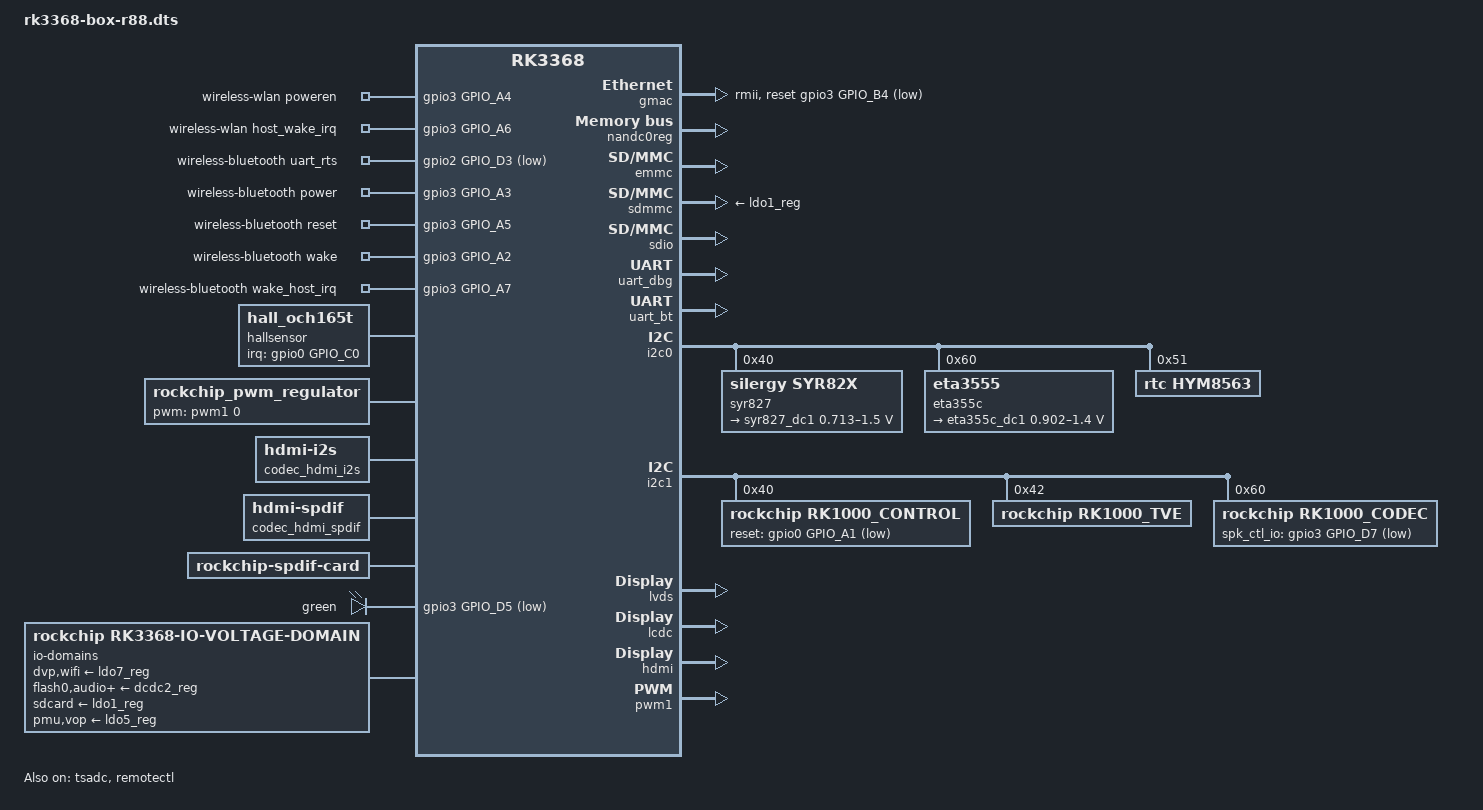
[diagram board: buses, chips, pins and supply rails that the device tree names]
/dts-v1/;

#include <dt-bindings/interrupt-controller/arm-gic.h>
#include <dt-bindings/rkfb/rk_fb.h>
#include <dt-bindings/input/input.h>
#include "rk3368.dtsi"
#include "../../../arm/boot/dts/vtl_ts_sdk8846.dtsi"
//#include "../../../arm/boot/dts/lcd-b101ew05.dtsi"
#include "../../../arm/boot/dts/lcd-box.dtsi"


/ {
	chosen {
		bootargs = "earlyprintk=uart8250-32bit,0xff690000";
	};

	wireless-wlan {
		compatible = "wlan-platdata";
                rockchip,grf = <&grf>;

                /* wifi_chip_type - wifi chip define
                 * ap6210, ap6330, ap6335
                 * rtl8188eu, rtl8723bs, rtl8723bu
                 * esp8089
                */
                wifi_chip_type = "ap6335";

		sdio_vref = <1800>; //1800mv or 3300mv

		//keep_wifi_power_on;

		//power_ctrl_by_pmu;
		power_pmu_regulator = "act_ldo3";
		power_pmu_enable_level = <1>; //1->HIGH, 0->LOW

		//vref_ctrl_enable;
		//vref_ctrl_gpio = <&gpio0 GPIO_A2 GPIO_ACTIVE_HIGH>;
		vref_pmu_regulator = "act_ldo3";
		vref_pmu_enable_level = <1>; //1->HIGH, 0->LOW

		WIFI,poweren_gpio = <&gpio3 GPIO_A4 GPIO_ACTIVE_HIGH>;
		WIFI,host_wake_irq = <&gpio3 GPIO_A6 GPIO_ACTIVE_HIGH>;
		//WIFI,reset_gpio = <&gpio0 GPIO_A2 GPIO_ACTIVE_LOW>;

		status = "okay";
	};

	wireless-bluetooth {
		compatible = "bluetooth-platdata";

		//wifi-bt-power-toggle;

		uart_rts_gpios = <&gpio2 GPIO_D3 GPIO_ACTIVE_LOW>;
		pinctrl-names = "default","rts_gpio";
		pinctrl-0 = <&uart0_rts>;
		pinctrl-1 = <&uart0_rts_gpio>;

		BT,power_gpio = <&gpio3 GPIO_A3 GPIO_ACTIVE_HIGH>;
		BT,reset_gpio = <&gpio3 GPIO_A5 GPIO_ACTIVE_HIGH>;
		BT,wake_gpio = <&gpio3 GPIO_A2 GPIO_ACTIVE_HIGH>;
		BT,wake_host_irq = <&gpio3 GPIO_A7 GPIO_ACTIVE_HIGH>;
		status = "okay";
	};

	hallsensor {
	       compatible = "hall_och165t";
	       type = <SENSOR_TYPE_HALL>;
	       irq-gpio = <&gpio0 GPIO_C0 IRQ_TYPE_EDGE_BOTH>;
	};

	backlight {
		compatible = "pwm-backlight";
		pwms = <&pwm0 0 25000>;
		brightness-levels = <255 254 253 252 251 250 249 248 247 246 245 244 243 242 241 240
		     239 238 237 236 235 234 233 232 231 230 229 228 227 226 225 224 223 222 221 220
		     219 218 217 216 215 214 213 212 211 210 209 208 207 206 205 204 203 202 201 200
		     199 198 197 196 195 194 193 192 191 190 189 188 187 186 185 184 183 182 181 180
		     179 178 177 176 175 174 173 172 171 170 169 168 167 166 165 164 163 162 161 160
		     159 158 157 156 155 154 153 152 151 150 149 148 147 146 145 144 143 142 141 140
		     139 138 137 136 135 134 133 132 131 130 129 128 127 126 125 124 123 122 121 120
		     119 118 117 116 115 114 113 112 111 110 109 108 107 106 105 104 103 102 101 100
		     99 98 97 96 95 94 93 92 91 90 89 88 87 86 85 84 83 82 81 80 79 78 77 76 75 74 73 72 71 70
		     69 68 67 66 65 64 63 62 61 60 59 58 57 56 55 54 53 52 51 50 49 48 47 46 45 44 43 42 41 40
		     39 38 37 36 35 34 33 32 31 30 29 28 27 26 25 24 23 22 21 20 19 18 17 16 15 14 13 12 11 10
		     9 8 7 6 5 4 3 2 1 0>;
		default-brightness-level = <200>;
		enable-gpios = <&gpio0 GPIO_C4 GPIO_ACTIVE_HIGH>;
		status = "disabled"; 
	};

	pwm_regulator {
		compatible = "rockchip_pwm_regulator";
		pwms = <&pwm1 0 2000>;
		rockchip,pwm_id= <1>;
		rockchip,pwm_voltage_map= <900000 925000 950000 975000 1000000 1025000 1050000 1075000 1100000 1125000 1150000 1175000 1200000 1225000 1250000 1275000 1300000 1325000 1350000 1375000>;
		rockchip,pwm_voltage= <1000000>;
		rockchip,pwm_min_voltage= <900000>;
		rockchip,pwm_max_voltage= <1375000>;
		rockchip,pwm_suspend_voltage= <950000>;
		rockchip,pwm_coefficient= <555>;
		regulators {
			#address-cells = <1>;
			#size-cells = <0>;
			pwm_reg0: regulator@0 {
				regulator-compatible = "pwm_dcdc1";
				regulator-name= "vdd_logic";
				regulator-min-microvolt = <900000>;
				regulator-max-microvolt = <1375000>;
				regulator-always-on;
				regulator-boot-on;
			};
		};
		test-power{
			status = "okay";
		};
	};

	codec_hdmi_i2s: codec-hdmi-i2s {
		compatible = "hdmi-i2s";
	};

	codec_hdmi_spdif: codec-hdmi-spdif {
		compatible = "hdmi-spdif";
	};

	rockchip-hdmi-i2s {
		status = "disabled";
		compatible = "rockchip-hdmi-i2s";
		dais {
			dai0 {
				audio-codec = <&codec_hdmi_i2s>;
				audio-controller = <&i2s0>;
				format = "i2s";
				//continuous-clock;
				//bitclock-inversion;
				//frame-inversion;
				//bitclock-master;
				//frame-master;
			};
		};
	};

	
	
	rockchip-spdif-card {
			compatible = "rockchip-spdif-card";
			dais {
				dai0 {
					audio-codec = <&codec_hdmi_spdif>;
					audio-controller = <&spdif>;
				};
			};
		};
	rockchip-rk1000 {
		compatible = "rockchip-rk1000";
		dais {
			dai0 {
				audio-codec = <&rk1000_codec>;
				audio-controller = <&i2s0>;
				format = "i2s";
			};
		};
	};
	rockchip-rt5631 {
		compatible = "rockchip-rt5631";
		dais {
			dai0 {
				audio-codec = <&rt5631>;
				audio-controller = <&i2s0>;
				format = "i2s";
				//continuous-clock;
				//bitclock-inversion;
				//frame-inversion;
				//bitclock-master;
				//frame-master;
			};
		};
	};

	rockchip-rt3224 {
		compatible = "rockchip-rt3261";
		dais {
			dai0 {
				audio-codec = <&rt3261>;
				audio-controller = <&i2s0>;
				format = "i2s";
				//continuous-clock;
				//bitclock-inversion;
				//frame-inversion;
				//bitclock-master;
				//frame-master;
			};
			dai1 {
				audio-codec = <&rt3261>;
				audio-controller = <&i2s0>;
				format = "dsp_a";
				//continuous-clock;
				bitclock-inversion;
				//frame-inversion;
				//bitclock-master;
				//frame-master;
			};
		};
	};
	power-led {
		compatible = "gpio-leds";
		green {
			gpios = <&gpio3 GPIO_D5 GPIO_ACTIVE_LOW>;
			default-state = "on";
		};
	};
	io-domains {
		compatible = "rockchip,rk3368-io-voltage-domain";
		rockchip,grf = <&grf>;
		rockchip,pmugrf = <&pmugrf>;

		/*GRF_IO_VSEL*/
		dvp-supply = <&ldo7_reg>;      /*DVPIO_VDD*/
		flash0-supply = <&dcdc2_reg>;  /*FLASH0_VDD*/
		wifi-supply = <&ldo7_reg>;     /*APIO2_VDD*/
		audio-supply = <&dcdc2_reg>;   /*APIO3_VDD*/
		sdcard-supply = <&ldo1_reg>;   /*SDMMC0_VDD*/
		gpio30-supply = <&dcdc2_reg>;  /*APIO1_VDD*/
		gpio1830-supply = <&dcdc2_reg>;/*ADIO4_VDD*/
		
		/*PMU_GRF_IO_VSEL*/
		pmu-supply = <&ldo5_reg>;      /*PMUIO_VDD*/
		vop-supply = <&ldo5_reg>;      /*LCDC_VDD*/
	};
};

&gmac_clkin {
        clock-frequency = <50000000>;
};

&gmac {
	//power_ctl_by = "gpio";	//"gpio" "pmu"
	//power-gpio = <&gpio0 GPIO_A6 GPIO_ACTIVE_HIGH>;
	//power-pmu = "act_ldo"
	reset-gpio = <&gpio3 GPIO_B4 GPIO_ACTIVE_LOW>;
	phy-mode = "rmii";
	pinctrl-names = "default";
	pinctrl-0 = <&rmii_pins>;
	clock_in_out = "output";
	tx_delay = <0x28>;
	rx_delay = <0x10>;
	status = "okay"; //if want to use gmac, please set "okay"
};

&pinctrl {
	//used for init some gpio
	init-gpios = <&gpio0 GPIO_A6 GPIO_ACTIVE_HIGH
	&gpio0 GPIO_B1 GPIO_ACTIVE_LOW>;
	
	gpio0_gpio {
		gpio0_c7: gpio0-c7 {
		rockchip,pins = <0 GPIO_C7 RK_FUNC_GPIO &pcfg_pull_down>;
	};
	gpio0_a3: gpio0-a3 {
		rockchip,pins = <0 GPIO_A3 RK_FUNC_3 &pcfg_pull_none>;
	};
	gpio0_c2: gpio0-c2 {
		rockchip,pins = <0 GPIO_C2 RK_FUNC_GPIO &pcfg_pull_down>;
	};
	
	//to add
	};

};

&nandc0 {
	status = "disabled"; // used nand set "disabled" ,used emmc set "okay"
};

&nandc0reg {
	status = "okay"; // used nand set "disabled" ,used emmc set "okay"
};

&emmc {
	clock-frequency = <150000000>;
	clock-freq-min-max = <400000 150000000>;

	supports-highspeed;
	supports-emmc;
	bootpart-no-access;

	//supports-sd;
	supports-DDR_MODE; //you should set the two value in your project. only close in RK3288-SDK board.
	caps2-mmc-hs200;

	ignore-pm-notify;
	keep-power-in-suspend;

	//poll-hw-reset
	status = "okay";
};

&sdmmc {
	clock-frequency = <50000000>;
	clock-freq-min-max = <400000 50000000>;
	supports-highspeed;
	supports-sd;
	broken-cd;
	card-detect-delay = <200>;
	
	ignore-pm-notify;
	keep-power-in-suspend;
	
	vmmc-supply = <&ldo1_reg>;
	status = "okay";
};

&edp{
	status = "disabled";
};

&sdio {
	clock-frequency = <50000000>;
	clock-freq-min-max = <200000 50000000>;
	supports-highspeed;
	supports-sdio;
	ignore-pm-notify;
	keep-power-in-suspend;
	//cap-sdio-irq;
	status = "okay";
};

&spi0 {
	status = "disabled";
	max-freq = <48000000>;
	/*
	spi_test@00 {
		compatible = "rockchip,spi_test_bus0_cs0";
                reg = <0>;
                spi-max-frequency = <24000000>;
                //spi-cpha;
		//spi-cpol;
                poll_mode = <0>;
	        type = <0>;
		enable_dma = <0>;

	};

	spi_test@01 {
	        compatible = "rockchip,spi_test_bus0_cs1";
	        reg = <1>;
	        spi-max-frequency = <24000000>;
	        spi-cpha;
		spi-cpol;
	        poll_mode = <0>;
	        type = <0>;
		enable_dma = <0>;
	};
	*/
};

&spi1 {
	status = "disabled";
	max-freq = <48000000>;
	/*
	spi_test@10 {
	        compatible = "rockchip,spi_test_bus1_cs0";
	        reg = <0>;
	        spi-max-frequency = <24000000>;
	        //spi-cpha;
		//spi-cpol;
	        poll_mode = <0>;
	        type = <0>;
		enable_dma = <0>;
	};
	*/
};

&spi2 {
	status = "disabled";
	max-freq = <48000000>;
	/*
	spi_test@20 {
	        compatible = "rockchip,spi_test_bus2_cs0";
	        reg = <0>;
	        spi-max-frequency = <24000000>;
	        //spi-cpha;
		//spi-cpol;
	        poll_mode = <0>;
	        type = <0>;
		enable_dma = <0>;
	};

	spi_test@21 {
	        compatible = "rockchip,spi_test_bus2_cs1";
	        reg = <1>;
	        spi-max-frequency = <24000000>;
	        //spi-cpha;
		//spi-cpol;
	        poll_mode = <0>;
	        type = <0>;
		enable_dma = <0>;
	};
	*/
};

&uart_dbg {
	status = "okay";
};

&uart_bt {
	status = "okay";
	dma-names = "!tx", "!rx";
	pinctrl-0 = <&uart0_xfer &uart0_cts>;
};

&tsadc {
       tsadc-tshut-mode = <0>; /* tshut mode 0:CRU 1:GPIO */
       //tsadc-tshut-polarity = <0>; /* tshut polarity 0:LOW 1:HIGH */
       status = "okay";
};

&i2c0 {
	status = "okay";
	syr827: syr827@40 {
		compatible = "silergy,syr82x";
		reg = <0x40>;
		status = "okay";
		regulators {
			#address-cells = <1>;
			#size-cells = <0>;
			syr827_dc1: regulator@0 {
			reg = <0>;
			regulator-compatible = "syr82x_dcdc1";
			regulator-name = "vdd_arm";
			regulator-min-microvolt = <712500>;
			regulator-max-microvolt = <1500000>;
			regulator-always-on;
			regulator-boot-on;
			regulator-initial-mode = <0x1>;
			regulator-initial-state = <3>;
			regulator-state-mem {
				regulator-state-mode = <0x2>;
				regulator-state-disabled;
				regulator-state-uv = <900000>;
			};
		};
	   };
	};
	syr828: syr828@41 {
		compatible = "silergy,syr82x";
		reg = <0x41>;
		status = "disabled";
		regulators {
			#address-cells = <1>;
			#size-cells = <0>;
			syr828_dc1: regulator@0 {
			reg = <0>;
			regulator-compatible = "syr82x_dcdc1";
			regulator-name = "vdd_gpu";
			regulator-min-microvolt = <712500>;
			regulator-max-microvolt = <1500000>;
			regulator-always-on;
			regulator-boot-on;
			regulator-initial-mode = <0x1>;
			regulator-initial-state = <3>;
			regulator-state-mem {
				regulator-state-mode = <0x2>;
				regulator-state-enabled;
				regulator-state-uv = <900000>;
			};
		};
	   };
	};

	eta355c: eta355c@60 {
                compatible = "eta3555";
                reg = <0x60>;
                status = "okay";
                regulators {
                        #address-cells = <1>;
                        #size-cells = <0>;
                        eta355c_dc1: regulator@0 {
                        reg = <0>;
                        regulator-compatible = "eta_dcdc1";
                        regulator-name = "vdd_arm";
                        regulator-min-microvolt = <902500>;
                        regulator-max-microvolt = <1400000>;
                        regulator-always-on;
                regulator-boot-on;
                        regulator-initial-mode = <0x1>;
                        regulator-initial-state = <3>;
                        regulator-state-mem {
                                regulator-state-mode = <0x2>;
                                regulator-state-enabled;
                                regulator-state-uv = <1000000>;
                        };
                };
           };
        };


        eta3558: eta3558@40 {
                compatible = "eta3555";
                reg = <0x40>;
                status = "disabled";
                regulators {
                        #address-cells = <1>;
                        #size-cells = <0>;
                        eta3558_dc1: regulator@0 {
                        reg = <0>;
                        regulator-compatible = "eta_dcdc1";
                        regulator-name = "vdd_gpu";
                        regulator-min-microvolt = <902500>;
                        regulator-max-microvolt = <1400000>;
                        regulator-always-on;
                regulator-boot-on;
                        regulator-initial-mode = <0x2>;
                        regulator-initial-state = <3>;
                        regulator-state-mem {
                                regulator-state-mode = <0x2>;
                                regulator-state-enabled;
                                regulator-state-uv = <1000000>;
                        };
                };
           };
        };
	
	act8846: act8846@5a {
		reg = <0x5a>;
		status = "diasbled";
	};
	
	CW2015@62 {
		compatible = "cw201x";
		reg = <0x62>;
		dc_det_gpio = <&gpio0 GPIO_C1 GPIO_ACTIVE_LOW>;
		bat_low_gpio = <&gpio0 GPIO_C2 GPIO_ACTIVE_LOW>;
		chg_ok_gpio = <&gpio0 GPIO_D3 GPIO_ACTIVE_HIGH>;
		bat_config_info = <0x15 0x42 0x60 0x59 0x52 0x58 0x4D 0x48 0x48 0x44 0x44 0x46 0x49 0x48 0x32
			0x24 0x20 0x17 0x13 0x0F 0x19 0x3E 0x51 0x45 0x08 0x76 0x0B 0x85 0x0E 0x1C 0x2E 0x3E 0x4D 0x52 0x52
			0x57 0x3D 0x1B 0x6A 0x2D 0x25 0x43 0x52 0x87 0x8F 0x91 0x94 0x52 0x82 0x8C 0x92 0x96 0xFF 0x7B 0xBB
			0xCB 0x2F 0x7D 0x72 0xA5 0xB5 0xC1 0x46 0xAE>;
		is_dc_charge = <1>;
		is_usb_charge = <0>;
		status = "diasbled";
	};
	rtc@51 {
		compatible = "rtc,hym8563";
		reg = <0x51>;
		/*box not used rtc irq,and this pin used as rk1000 spk ctrl*/
		#irq_gpio = <&gpio0 GPIO_A1 IRQ_TYPE_EDGE_FALLING>;
	};

};

&i2c1 {
	status = "okay";
	rk1000_control@40 {
		compatible = "rockchip,rk1000_control";
		reg = <0x40>;
		gpio-reset = <&gpio0 GPIO_A1 GPIO_ACTIVE_LOW>;
		#clocks = <&clk_i2s>, <&i2s_out>, <&clk_gates12 7>;
		#clock-names = "i2s_clk", "i2s_mclk", "i2s_hclk";
		#pinctrl-names = "default";
		#pinctrl-0 = <&i2s_mclk>;
		status = "okay";
	};
	rk1000_tve@42 {
		compatible = "rockchip,rk1000_tve";
		reg = <0x42>;
		rockchip,source = <0>; //0: LCDC0; 1: LCDC1
		rockchip,prop = <PRMRY>;//<EXTEND>
		status = "okay";
	};
	rk1000_codec: rk1000_codec@60 {
		compatible = "rockchip,rk1000_codec";
		reg = <0x60>;
		spk_ctl_io = <&gpio3 GPIO_D7 GPIO_ACTIVE_LOW>;
		boot_depop = <1>;
		pa_enable_time = <5000>;
		status = "okay";
	};
	mpu6050:mpu@68{
		compatible = "mpu6050";
		reg = <0x68>;
		mpu-int_config = <0x10>;
		mpu-level_shifter = <0>;
		mpu-orientation = <0 1 0 1 0 0 0 0 1>;
		orientation-x= <0>;
		orientation-y= <1>;
		orientation-z= <1>;
		irq-gpio = <&gpio3 GPIO_B6 IRQ_TYPE_LEVEL_LOW>;
		mpu-debug = <0>;
		status = "disabled";
	};
	ak8963:compass@0d{
		compatible = "mpu_ak8963";
		reg = <0x0d>;
		compass-bus = <0>;
		compass-adapt_num = <0>;
		compass-orientation = <1 0 0 0 1 0 0 0 1>;
		orientation-x= <0>;
		orientation-y= <0>;
		orientation-z= <1>;
		compass-debug = <1>;
		status = "disabled";
	};
	rt3261: rt3261@1c {
		compatible = "rt3261";
		reg = <0x1c>;
		spk-num= <2>;
		modem-input-mode = <1>;
		lout-to-modem_mode = <1>;
		spk-amplify = <2>;
		status = "disabled";
	};
};

&i2c2 {
	status = "disabled";
	rt5631: rt5631@1a {
		compatible = "rt5631";
		reg = <0x1a>;
	};
	ts@01 {
		compatible = "ct,vtl_ts";
		reg = <0x01>;
		screen_max_x = <1536>;
		screen_max_y = <2048>;
		xy_swap = <1>;
		x_reverse = <0>;
		y_reverse = <0>;
		x_mul = <2>;
		y_mul = <2>;
		bin_ver = <0>;
		irq_gpio_number = <&gpio0 GPIO_B4 IRQ_TYPE_LEVEL_LOW>;
		rst_gpio_number = <&gpio0 GPIO_B3 GPIO_ACTIVE_HIGH>;
	};
};

&i2c3 {
	status = "disabled";
};

&i2c4 {
	status = "disabled";
};

&i2c5 {
	status = "disabled";
};

&CPU_SLEEP_0 {
	arm,psci-suspend-param = <0x1010000>;
};

&fb {
	rockchip,disp-mode = <NO_DUAL>;
	rockchip,uboot-logo-on = <1>;
	rockchip,disp-policy = <DISPLAY_POLICY_BOX_TEMP>;
};

&disp_timings {
	native-mode = <&timing1>;
};

&rk_screen {
	display-timings = <&disp_timings>;
};


&lvds {
	status = "okay";
	//pinctrl-names = "lcdc", "sleep";
	//pinctrl-0 = <&lcdc_lcdc>;
	//pinctrl-1 = <&lcdc_gpio>;
};

&lcdc {
	status = "okay";
	rockchip,mirror = <NO_MIRROR>;
	rockchip,cabc_mode = <0>;
	rockchip,fb-win-map = <FB_DEFAULT_ORDER>;
	pinctrl-names = "default", "gpio";
	pinctrl-0 = <&lcdc_lcdc>;
	pinctrl-1 = <&lcdc_gpio>;

	power_ctr: power_ctr {
		rockchip,debug = <0>;
		/*lcd_en:lcd_en {
			rockchip,power_type = <GPIO>;
			gpios = <&gpio0 GPIO_C6 GPIO_ACTIVE_HIGH>;
			rockchip,delay = <10>;
		};

		lcd_cs:lcd_cs {
			rockchip,power_type = <GPIO>;
			gpios = <&gpio0 GPIO_C5 GPIO_ACTIVE_HIGH>;
			rockchip,delay = <10>;
		};

		lcd_rst:lcd_rst {
			rockchip,power_type = <GPIO>;
			gpios = <&gpio3 GPIO_D6 GPIO_ACTIVE_HIGH>;
			rockchip,delay = <5>;
		};*/
	};
};




&hdmi {
	status = "okay";
};

&adc {
	status = "disabled";

	rockchip_headset {
		compatible = "rockchip_headset";
		headset_gpio = <&gpio0 GPIO_C7 GPIO_ACTIVE_LOW>;
		pinctrl-names = "default";
		pinctrl-0 = <&gpio0_c7>;//gpio0_c7
		io-channels = <&adc 2>;
		/*
		hook_gpio = ;
		hook_down_type = ; //interrupt hook key down status
		*/
       };

	key {
		compatible = "rockchip,key";
		io-channels = <&adc 1>;

		vol-up-key {
			linux,code = <115>;
			label = "volume up";
			rockchip,adc_value = <1>;
		};

		vol-down-key {
			linux,code = <114>;
			label = "volume down";
			rockchip,adc_value = <170>;
		};

		power-key {
			gpios = <&gpio0 GPIO_A2 GPIO_ACTIVE_LOW>;
			linux,code = <116>;
			label = "power";
			gpio-key,wakeup;
		};

		menu-key {
			linux,code = <59>;
			label = "menu";
			rockchip,adc_value = <355>;
		};

		home-key {
			linux,code = <102>;
			label = "home";
			rockchip,adc_value = <746>;
		};

		back-key {
			linux,code = <158>;
			label = "back";
			rockchip,adc_value = <560>;
		};

		camera-key {
			linux,code = <212>;
			label = "camera";
			rockchip,adc_value = <450>;
		};
	};
};

&pwm0 {
        status = "disabled";
};

&pwm1 {
        status = "okay";
};

&clk_core_b_dvfs_table {
	operating-points = <
		/* KHz    uV */
		//216000 950000
		312000 950000
		408000 950000
		600000 975000
		696000 975000
		816000 1000000
		1008000 1100000
		1200000 1175000
		1416000 1300000
		1488000 1325000
		1512000 1350000
		>;
	status = "okay";
};

&clk_core_l_dvfs_table {
	operating-points = <
		/* KHz    uV */
		//216000 950000
		312000 950000
		408000 950000
		600000 950000
		696000 975000
		816000 1050000
		1008000 1100000
		1200000 1250000
		//1300000 1300000
		>;
	status = "okay";
};

&clk_gpu_dvfs_table {
	operating-points = <
		/* KHz    uV */
		//200000 1200000
		300000 1200000
		400000 1200000
		600000 1200000
		>;
};

&clk_ddr_dvfs_table {
	operating-points = <
		/* KHz    uV */
		200000 1050000
		300000 1050000
		400000 1100000
		533000 1150000
		800000 1200000
		>;

	freq-table = <
		/*status		freq(KHz)*/
		SYS_STATUS_NORMAL	800000
		/*SYS_STATUS_SUSPEND	200000
		SYS_STATUS_VIDEO_1080P  240000
		SYS_STATUS_VIDEO_4K     400000
		SYS_STATUS_PERFORMANCE  528000
		SYS_STATUS_DUALVIEW	400000
		SYS_STATUS_BOOST	324000
		SYS_STATUS_ISP		400000*/
		>;
	auto-freq-table = <
		240000
		324000
		396000
		528000
		>;
	auto-freq=<0>;
	status="okay";
};

&dwc_control_usb {
		host_drv_gpio = <&gpio0 GPIO_A4 GPIO_ACTIVE_LOW>;
		otg_drv_gpio = <&gpio0 GPIO_A5 GPIO_ACTIVE_LOW>;

		rockchip,remote_wakeup;
		rockchip,usb_irq_wakeup;
	};
	
&usb0 {
	/*0 - Normal, 1 - Force Host, 2 - Force Device*/
	rockchip,usb-mode = <0>;
};

/include/ "../../../arm/boot/dts/act8846.dtsi"
&act8846 {
	gpios =<&gpio0 GPIO_B0 GPIO_ACTIVE_LOW>,<&gpio0 GPIO_A3 GPIO_ACTIVE_HIGH>;
	act8846,system-power-controller;

	regulators {

		dcdc1_reg: regulator@0{
			regulator-name= "act_dcdc1";
			regulator-min-microvolt = <1200000>;
			regulator-max-microvolt = <1200000>;
			regulator-always-on;
			regulator-boot-on;
		};

		dcdc2_reg: regulator@1 {
			regulator-name= "vccio";
			regulator-min-microvolt = <3300000>;
			regulator-max-microvolt = <3300000>;
			regulator-initial-state = <3>;
			regulator-state-mem {
				regulator-state-enabled;
				regulator-state-uv = <3300000>;
			};
		};

		dcdc3_reg: regulator@2 {
			regulator-name= "vdd_logic";
			regulator-min-microvolt = <700000>;
			regulator-max-microvolt = <1500000>;
			regulator-initial-state = <3>;
			regulator-state-mem {
				regulator-state-enabled;
				regulator-state-uv = <1000000>;
			};

		};

		dcdc4_reg: regulator@3 {
			regulator-name= "act_dcdc4";
			regulator-min-microvolt = <2000000>;
			regulator-max-microvolt = <2000000>;
				regulator-initial-state = <3>;
			regulator-state-mem {
				regulator-state-enabled;
				regulator-state-uv = <2000000>;
			};
		};

		ldo1_reg: regulator@4 {
			regulator-name= "vccio_sd";
			regulator-min-microvolt = <1800000>;
			regulator-max-microvolt = <3300000>;

		};

		ldo2_reg: regulator@5 {
			regulator-name= "act_ldo2";
			regulator-min-microvolt = <1000000>;
			regulator-max-microvolt = <1000000>;

		};

		ldo3_reg: regulator@6 {
			regulator-name= "act_ldo3";
			regulator-min-microvolt = <3300000>;
			regulator-max-microvolt = <3300000>;

		};

		ldo4_reg:regulator@7 {
			regulator-name= "act_ldo4";
			regulator-min-microvolt = <3300000>;
			regulator-max-microvolt = <3300000>;

		};

		ldo5_reg: regulator@8 {
			regulator-name= "act_ldo5";
			regulator-min-microvolt = <3300000>;
			regulator-max-microvolt = <3300000>;

		};

		ldo6_reg: regulator@9 {
			regulator-name= "act_ldo6";
			regulator-min-microvolt = <1000000>;
			regulator-max-microvolt = <1000000>;
			regulator-initial-state = <3>;
			regulator-state-mem {
				regulator-state-enabled;
			};

		};

		ldo7_reg: regulator@10 {
			regulator-name= "vcc_18";
			regulator-min-microvolt = <1800000>;
			regulator-max-microvolt = <1800000>;
			regulator-initial-state = <3>;
			regulator-state-mem {
				regulator-state-enabled;
			};

		};

		ldo8_reg: regulator@11 {
			regulator-name= "act_ldo8";
			regulator-min-microvolt = <1800000>;
			regulator-max-microvolt = <1800000>;

		};
	};
};

&ion_cma {
       reg = <0x00000000 0x00000000>; /* 0MB */
};

/*
&dwc_control_usb {
	usb_uart {
		status = "disabled";
	};
};

&rk3288_cif_sensor{
	status = "okay";
};
*/

&remotectl {
	handle_cpu_id = <1>;
	status = "okay";
	ir_key1{
		rockchip,usercode = <0x4040>;
		rockchip,key_table =
			<0xf2	KEY_REPLY>,
			<0xba	KEY_BACK>,
			<0xf4	KEY_UP>,
			<0xf1	KEY_DOWN>,
			<0xef	KEY_LEFT>,
			<0xee	KEY_RIGHT>,
			<0xbd	KEY_HOME>,
			<0xea	KEY_VOLUMEUP>,
			<0xe3	KEY_VOLUMEDOWN>,
			<0xe2	KEY_SEARCH>,
			<0xb2	KEY_POWER>,
			<0xbc	KEY_MUTE>,
			<0xec	KEY_MENU>,
			<0xbf	0x190>,
			<0xe0	0x191>,
			<0xe1	0x192>,
			<0xe9	183>,
			<0xe6	248>,
			<0xe8	185>,
			<0xe7	186>,
			<0xf0	388>,
			<0xbe	0x175>;
	};
	ir_key2{
		rockchip,usercode = <0xff00>;
		rockchip,key_table =
			<0xf9	KEY_HOME>,
			<0xbf	KEY_BACK>,
			<0xfb	KEY_MENU>,
			<0xaa	KEY_REPLY>,
			<0xb9	KEY_UP>,
			<0xe9	KEY_DOWN>,
			<0xb8	KEY_LEFT>,
			<0xea	KEY_RIGHT>,
			<0xeb	KEY_VOLUMEDOWN>,
			<0xef	KEY_VOLUMEUP>,
			<0xf7	KEY_MUTE>,
			<0xe7	KEY_POWER>,
			<0xfc	KEY_POWER>,
			<0xa9	KEY_VOLUMEDOWN>,
			<0xa8	KEY_VOLUMEDOWN>,
			<0xe0	KEY_VOLUMEDOWN>,
			<0xa5	KEY_VOLUMEDOWN>,
			<0xab	183>,
			<0xb7	388>,
			<0xf8	184>,
			<0xaf	185>,
			<0xed	KEY_VOLUMEDOWN>,
			<0xee	186>,
			<0xb3	KEY_VOLUMEDOWN>,
			<0xf1	KEY_VOLUMEDOWN>,
			<0xf2	KEY_VOLUMEDOWN>,
			<0xf3	KEY_SEARCH>,
			<0xb4	KEY_VOLUMEDOWN>,
			<0xbe	KEY_SEARCH>;
	};
	ir_key3{
		rockchip,usercode = <0x1dcc>;
		rockchip,key_table =
			<0xee	KEY_REPLY>,
			<0xf0	KEY_BACK>,
			<0xf8	KEY_UP>,
			<0xbb	KEY_DOWN>,
			<0xef	KEY_LEFT>,
			<0xed	KEY_RIGHT>,
			<0xfc	KEY_HOME>,
			<0xf1	KEY_VOLUMEUP>,
			<0xfd	KEY_VOLUMEDOWN>,
			<0xb7	KEY_SEARCH>,
			<0xff	KEY_POWER>,
			<0xf3	KEY_MUTE>,
			<0xbf	KEY_MENU>,
			<0xf9	0x191>,
			<0xf5	0x192>,
			<0xb3	388>,
			<0xbe	KEY_1>,
			<0xba	KEY_2>,
			<0xb2	KEY_3>,
			<0xbd	KEY_4>,
			<0xf9	KEY_5>,
			<0xb1	KEY_6>,
			<0xfc	KEY_7>,
			<0xf8	KEY_8>,
			<0xb0	KEY_9>,
			<0xb6	KEY_0>,
			<0xb5	KEY_BACKSPACE>;
	};
};
